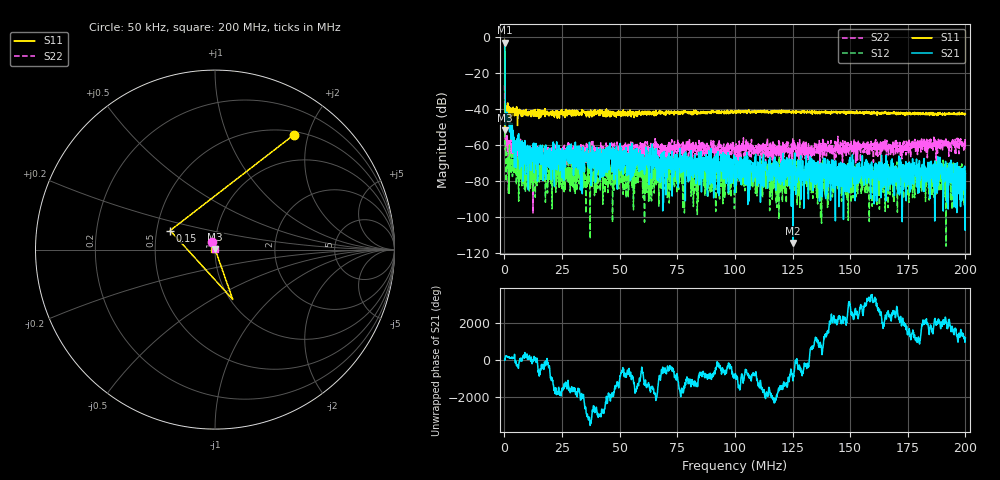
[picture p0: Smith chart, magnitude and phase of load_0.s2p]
! 26-Feb-26 1:57:40 PM
! E:\VNA_MEASUREMENTS\CAL_ENDS\LOAD_0.S2P
! CHANNEL.1
! TR.MEASUREMENT
! CORRECTED.DATA
# GHZ S RI R 50.0
! FREQ.GHZ  S11RE  S11IM  S21RE  S21IM  S12RE  S12IM  S22RE  S22IM
!; PortSelection: Port_12
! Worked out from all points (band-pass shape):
!   2000 points, 50 kHz to 200 MHz, reference 50 ohm
!   highest |S21| = -3.38 dB at 50 kHz (marker M1); lowest = -114.5 dB at 125.2 MHz (marker M2)
!   |S21| within 3 dB of the highest: start of sweep to 121.2 kHz
!   lowest |S11| = -52.1 dB at 350.1 kHz (marker M3), VSWR 1.00, Z = 50 + j0.247 ohm
!   |S11| at or under -10 dB: 135.5 kHz to end of sweep
!   |S22| runs from -97.9 to -27.0 dB; largest |S21 - S12| = 0.68
!   S11 on the Smith chart (normalised r, x): 50 kHz: 0.55, +1.77; 150 kHz: 0.59, +0.13; 200 MHz: 0.99, +0.00
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5e-05  0.4405 0.6402  0.6621 0.1444  -0.00637 -0.000841  -0.0168 0.0417
0.000150025  -0.2499 0.1061  0.0331 0.4158  0.000201 0.00141  0.00542 -0.00266
0.000350075  0.000179 0.00247  -0.00283 -0.00205  -0.000581 -0.000436  -0.00128 -0.00205
0.001350325  -0.0095 -0.000836  -0.00691 -0.000922  0.000318 -0.000258  -0.000574 0.000703
0.004551126  -0.00693 -0.00158  0.000778 0.000669  0.000243 2.34e-05  -0.000813 5.04e-05
0.007551876  -0.00622 -0.000352  7.33e-05 0.000492  -6.69e-05 2.82e-05  0.000592 -0.00014
0.01105275  -0.00756 0.00132  -0.000509 0.000665  0.000317 -0.000287  0.000424 0.000337
0.01345335  -0.00803 -0.000557  -0.000326 0.000486  -6.26e-05 0.00012  0.000769 5.47e-05
0.02475618  -0.0092 0.00128  -0.000693 8.7e-05  -3.65e-05 -0.000148  0.000396 3.19e-05
0.02785695  -0.007 0.00152  0.000656 0.00054  -8.02e-05 -6.26e-05  0.00106 -0.000279
0.03345835  -0.00644 0.000884  0.000358 8.45e-05  -0.000146 6.33e-05  0.000572 0.000532
0.0428607  -0.00708 0.00129  -0.000187 -2.8e-05  -3.15e-05 -5.53e-05  0.000679 -0.000145
0.04606151  -0.00842 -7.53e-05  -0.000342 0.000437  7.15e-05 2.76e-05  0.000906 0.000136
0.05566391  -0.00708 0.000856  -0.000458 -2.29e-05  2.92e-05 0.00023  0.000779 7.3e-05
0.06506626  -0.00755 0.00101  0.000398 0.000157  -6.62e-05 0.000179  0.000495 -0.000255
0.06676668  -0.00804 -7.31e-05  -0.000104 -0.000102  5.91e-05 6.79e-05  0.000332 0.000208
0.07166791  -0.00789 0.000671  0.000355 3.5e-06  -9.42e-05 -2.71e-05  0.000877 0.000727
0.100075  -0.00875 0.00137  0.000161 -5.88e-05  7.02e-05 0.000194  0.000435 0.000489
0.1251813  -0.00766 0.000683  1.7e-06 -8e-07  3.77e-05 -0.000119  0.000357 0.000547
0.1333833  -0.0084 0.00171  -0.000109 -9.46e-05  -9.63e-05 0.00019  0.000439 0.000481
0.1666917  -0.00757 0.00153  8.57e-05 -0.000122  6.61e-05 6.44e-05  0.00102 0.00032
0.2  -0.00679 0.0022  -0.000118 0.000105  -5.5e-05 -0.000184  0.000356 0.000926
